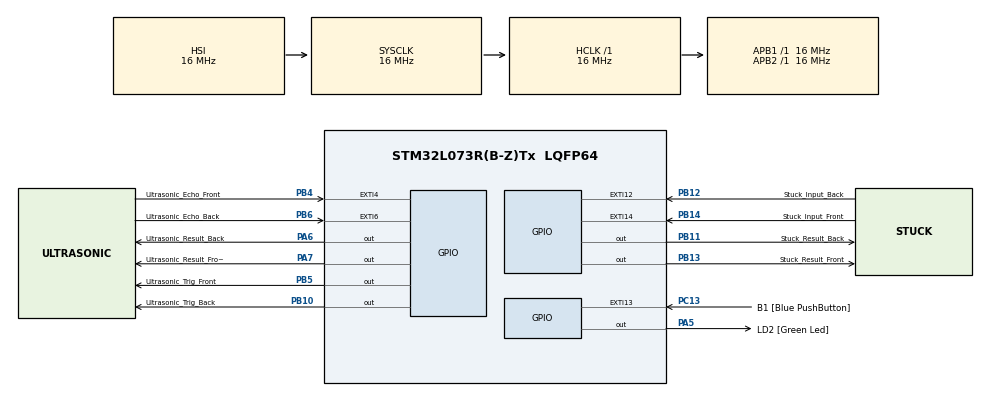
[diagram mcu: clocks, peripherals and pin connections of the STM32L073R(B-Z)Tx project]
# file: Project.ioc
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Mcu.Family=STM32L0
Mcu.Name=STM32L073R(B-Z)Tx
Mcu.Package=LQFP64
NVIC.EXTI4_15_IRQn=true\:0\:0\:false\:false\:true\:true\:true\:true
NVIC.TIM3_IRQn=true\:0\:0\:false\:false\:true\:true\:true\:true
NVIC.TIM6_DAC_IRQn=true\:0\:0\:false\:false\:true\:true\:true\:true
PA13.GPIO_Label=TMS
PA13.Mode=Serial_Wire
PA13.Signal=SYS_SWDIO
PA14.GPIO_Label=TCK
PA14.Mode=Serial_Wire
PA14.Signal=SYS_SWCLK
PA2.GPIO_Label=USART_TX
PA2.Signal=USART2_TX
PA3.GPIO_Label=USART_RX
PA3.Signal=USART2_RX
PA5.GPIO_Label=LD2 [Green Led]
PA5.Signal=GPIO_Output
PA6.GPIO_Label=Ultrasonic_Result_Back
PA6.Signal=GPIO_Output
PA7.GPIO_Label=Ultrasonic_Result_Front
PA7.Signal=GPIO_Output
PB10.GPIO_Label=Ultrasonic_Trig_Back
PB10.Signal=GPIO_Output
PB11.GPIO_Label=Stuck_Result_Back
PB11.Signal=GPIO_Output
PB12.GPIO_Label=Stuck_Input_Back
PB12.GPIO_ModeDefaultEXTI=GPIO_MODE_IT_RISING_FALLING
PB12.GPIO_PuPd=GPIO_PULLDOWN
PB12.Signal=GPXTI12
PB13.GPIO_Label=Stuck_Result_Front
PB13.Signal=GPIO_Output
PB14.GPIO_Label=Stuck_Input_Front
PB14.GPIO_ModeDefaultEXTI=GPIO_MODE_IT_RISING_FALLING
PB14.GPIO_PuPd=GPIO_PULLDOWN
PB14.Signal=GPXTI14
PB4.GPIO_Label=Ultrasonic_Echo_Front
PB4.GPIO_ModeDefaultEXTI=GPIO_MODE_IT_RISING_FALLING
PB4.Signal=GPXTI4
PB5.GPIO_Label=Ultrasonic_Trig_Front
PB5.Signal=GPIO_Output
PB6.GPIO_Label=Ultrasonic_Echo_Back
PB6.GPIO_ModeDefaultEXTI=GPIO_MODE_IT_RISING_FALLING
PB6.Signal=GPXTI6
PC13.GPIO_Label=B1 [Blue PushButton]
PC13.GPIO_ModeDefaultEXTI=GPIO_MODE_IT_RISING_FALLING
PC13.GPIO_PuPd=GPIO_NOPULL
PC13.Signal=GPXTI13
PC14-OSC32_IN.Mode=LSE-External-Oscillator
PC14-OSC32_IN.Signal=RCC_OSC32_IN
PC15-OSC32_OUT.Mode=LSE-External-Oscillator
PC15-OSC32_OUT.Signal=RCC_OSC32_OUT
PH0-OSC_IN.GPIO_Label=MCO
PH0-OSC_IN.Mode=HSE-External-Clock-Source
PH0-OSC_IN.Signal=RCC_OSC_IN
ProjectManager.HeapSize=0x200
ProjectManager.StackSize=0x400
ProjectManager.TargetToolchain=MDK-ARM V5.32
RCC.AHBFreq_Value=16000000
RCC.APB1Freq_Value=16000000
RCC.APB1TimFreq_Value=16000000
RCC.APB2Freq_Value=16000000
RCC.APB2TimFreq_Value=16000000
RCC.HCLKFreq_Value=16000000
RCC.HSE_VALUE=8000000
RCC.HSI16_VALUE=16000000
RCC.HSI48_VALUE=48000000
RCC.HSI_VALUE=16000000
RCC.MSI_VALUE=2097000
RCC.RTCClockSelection=RCC_RTCCLKSOURCE_LSE
RCC.RTCClockSelectionVirtual=RCC_RTCCLKSOURCE_LSE
RCC.SYSCLKFreq_VALUE=16000000
RCC.SYSCLKSource=RCC_SYSCLKSOURCE_HSI
RCC.VCOOutputFreq_Value=48000000
TIM3.Period=29999
TIM3.Prescaler=159
TIM6.Period=29999
TIM6.Prescaler=159
TIM7.Prescaler=15
VP_TIM3_VS_ClockSourceINT.Mode=Internal
VP_TIM6_VS_ClockSourceINT.Mode=Enable_Timer
VP_TIM7_VS_ClockSourceINT.Mode=Enable_Timer
board=NUCLEO-L073RZ

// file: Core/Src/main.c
/* USER CODE BEGIN Header */
/**
  ******************************************************************************
  * @file           : main.c
  * @brief          : Main program body
  ******************************************************************************
  * @attention
  *
  * Copyright (c) 2025 STMicroelectronics.
  * All rights reserved.
  *
  * This software is licensed under terms that can be found in the LICENSE file
  * in the root directory of this software component.
  * If no LICENSE file comes with this software, it is provided AS-IS.
  *
  ******************************************************************************
  */
/* USER CODE END Header */
#include "main.h"

/* USER CODE BEGIN Includes */
#include <stdio.h>
#include "../../Drivers/BSW/Ultrasonic.h"
#include "../../Drivers/BSW/Stuck.h"
/* USER CODE END Includes */

TIM_HandleTypeDef htim3;
TIM_HandleTypeDef htim6;
TIM_HandleTypeDef htim7;

/* USER CODE BEGIN PV */
volatile uint8_t flag_done[2];
volatile double dist[2];
/* USER CODE END PV */

void SystemClock_Config(void);
static void MX_GPIO_Init(void);
static void MX_TIM7_Init(void);
static void MX_TIM6_Init(void);
static void MX_TIM3_Init(void);

/* USER CODE BEGIN 0 */
// EXTI call-back
void HAL_GPIO_EXTI_Callback(uint16_t GPIO_Pin)
{
	// us precision time
	static volatile int sf = 0, sb = 0, ef, eb;

	switch(GPIO_Pin)
	{
		/* Ultrasonic echo received */
		case Echo_Front_Pin:
			ef = htim7.Instance->CNT;
			if(HAL_GPIO_ReadPin(Echo_GPIO_Port, Echo_Front_Pin) == GPIO_PIN_SET)	// Start measurement (rising edge)
			{
				sf = ef;
			}
			else																																	// End measurement (falling edge)
			{
				dist[Front] = (((ef < sf) * 65536) + (ef - sf)) * 0.017;						// Calculate distance
				flag_done[Front] = 1;
			}
			break;
		case Echo_Back_Pin:
			eb = htim7.Instance->CNT;
			if(HAL_GPIO_ReadPin(Echo_GPIO_Port, Echo_Back_Pin) == GPIO_PIN_SET)		// Start measurement (rising edge)
			{
				sb = eb;
			}
			else																																	// End measurement (falling edge)
			{
				dist[Back] = (((eb < sb) * 65536) + (eb - sb)) * 0.017;							// Calculate distance
				flag_done[Back] = 1;
			}
			break;

		/* Stuck signal received */
		case Stuck_Input_Front_Pin:
			if(HAL_GPIO_ReadPin(Stuck_GPIO_Port, Stuck_Input_Front_Pin) == GPIO_PIN_SET)
			{
				HAL_TIM_Base_Start_IT(&htim3);		// Timer start
			}
			else
			{
				// Reset timer & flag
				HAL_TIM_Base_Stop_IT(&htim3);
				__HAL_TIM_SET_COUNTER(&htim3, 0);
				HAL_GPIO_WritePin(Stuck_GPIO_Port, Stuck_Result_Front_Pin, GPIO_PIN_RESET);
			}
			break;
		case Stuck_Input_Back_Pin:
			if(HAL_GPIO_ReadPin(Stuck_GPIO_Port, Stuck_Input_Back_Pin) == GPIO_PIN_SET)
			{
				HAL_TIM_Base_Start_IT(&htim6);		// Timer start
			}
			else
			{
				// Reset timer & flag
				HAL_TIM_Base_Stop_IT(&htim6);
				__HAL_TIM_SET_COUNTER(&htim6, 0);
				HAL_GPIO_WritePin(Stuck_GPIO_Port, Stuck_Result_Back_Pin, GPIO_PIN_RESET);
			}
			break;

		/* Unknown pin */
		default:
			break;
	}
}
/* USER CODE END 0 */

int main(void)
{

  /* MCU Configuration--------------------------------------------------------*/

  /* Reset of all peripherals, Initializes the Flash interface and the Systick. */
  HAL_Init();

  /* Configure the system clock */
  SystemClock_Config();

  /* Initialize all configured peripherals */
  MX_GPIO_Init();
  MX_TIM7_Init();
  MX_TIM6_Init();
  MX_TIM3_Init();
  /* USER CODE BEGIN 2 */
	HAL_TIM_Base_Start(&htim7);

  /* USER CODE END 2 */

  /* Infinite loop */
  while (1)
  {

    /* USER CODE BEGIN 3 */
		UltraSonic();									// Run ultrasonic
		HAL_Delay(70);								// Delay for system stabilization
  }
  /* USER CODE END 3 */
}

void SystemClock_Config(void)
{
  RCC_OscInitTypeDef RCC_OscInitStruct = {0};
  RCC_ClkInitTypeDef RCC_ClkInitStruct = {0};

  /** Configure the main internal regulator output voltage
  */
  __HAL_PWR_VOLTAGESCALING_CONFIG(PWR_REGULATOR_VOLTAGE_SCALE1);

  /** Initializes the RCC Oscillators according to the specified parameters
  * in the RCC_OscInitTypeDef structure.
  */
  RCC_OscInitStruct.OscillatorType = RCC_OSCILLATORTYPE_HSI;
  RCC_OscInitStruct.HSIState = RCC_HSI_ON;
  RCC_OscInitStruct.HSICalibrationValue = RCC_HSICALIBRATION_DEFAULT;
  RCC_OscInitStruct.PLL.PLLState = RCC_PLL_NONE;
  if (HAL_RCC_OscConfig(&RCC_OscInitStruct) != HAL_OK)
  {
    Error_Handler();
  }

  /** Initializes the CPU, AHB and APB buses clocks
  */
  RCC_ClkInitStruct.ClockType = RCC_CLOCKTYPE_HCLK|RCC_CLOCKTYPE_SYSCLK
                              |RCC_CLOCKTYPE_PCLK1|RCC_CLOCKTYPE_PCLK2;
  RCC_ClkInitStruct.SYSCLKSource = RCC_SYSCLKSOURCE_HSI;
  RCC_ClkInitStruct.AHBCLKDivider = RCC_SYSCLK_DIV1;
  RCC_ClkInitStruct.APB1CLKDivider = RCC_HCLK_DIV1;
  RCC_ClkInitStruct.APB2CLKDivider = RCC_HCLK_DIV1;

  if (HAL_RCC_ClockConfig(&RCC_ClkInitStruct, FLASH_LATENCY_0) != HAL_OK)
  {
    Error_Handler();
  }
}

static void MX_TIM3_Init(void)
{

  TIM_ClockConfigTypeDef sClockSourceConfig = {0};
  TIM_MasterConfigTypeDef sMasterConfig = {0};

  htim3.Instance = TIM3;
  htim3.Init.Prescaler = 159;
  htim3.Init.CounterMode = TIM_COUNTERMODE_UP;
  htim3.Init.Period = 29999;
  htim3.Init.ClockDivision = TIM_CLOCKDIVISION_DIV1;
  htim3.Init.AutoReloadPreload = TIM_AUTORELOAD_PRELOAD_DISABLE;
  if (HAL_TIM_Base_Init(&htim3) != HAL_OK)
  {
    Error_Handler();
  }
  sClockSourceConfig.ClockSource = TIM_CLOCKSOURCE_INTERNAL;
  if (HAL_TIM_ConfigClockSource(&htim3, &sClockSourceConfig) != HAL_OK)
  {
    Error_Handler();
  }
  sMasterConfig.MasterOutputTrigger = TIM_TRGO_RESET;
  sMasterConfig.MasterSlaveMode = TIM_MASTERSLAVEMODE_DISABLE;
  if (HAL_TIMEx_MasterConfigSynchronization(&htim3, &sMasterConfig) != HAL_OK)
  {
    Error_Handler();
  }
  /* USER CODE BEGIN TIM3_Init 2 */
	__HAL_TIM_SET_COUNTER(&htim3, 0);
  /* USER CODE END TIM3_Init 2 */

}

static void MX_TIM6_Init(void)
{

  TIM_MasterConfigTypeDef sMasterConfig = {0};

  htim6.Instance = TIM6;
  htim6.Init.Prescaler = 159;
  htim6.Init.CounterMode = TIM_COUNTERMODE_UP;
  htim6.Init.Period = 29999;
  htim6.Init.AutoReloadPreload = TIM_AUTORELOAD_PRELOAD_DISABLE;
  if (HAL_TIM_Base_Init(&htim6) != HAL_OK)
  {
    Error_Handler();
  }
  sMasterConfig.MasterOutputTrigger = TIM_TRGO_RESET;
  sMasterConfig.MasterSlaveMode = TIM_MASTERSLAVEMODE_DISABLE;
  if (HAL_TIMEx_MasterConfigSynchronization(&htim6, &sMasterConfig) != HAL_OK)
  {
    Error_Handler();
  }
  /* USER CODE BEGIN TIM6_Init 2 */
	__HAL_TIM_SET_COUNTER(&htim6, 0);
  /* USER CODE END TIM6_Init 2 */

}

static void MX_TIM7_Init(void)
{

  TIM_MasterConfigTypeDef sMasterConfig = {0};

  htim7.Instance = TIM7;
  htim7.Init.Prescaler = 15;
  htim7.Init.CounterMode = TIM_COUNTERMODE_UP;
  htim7.Init.Period = 65535;
  htim7.Init.AutoReloadPreload = TIM_AUTORELOAD_PRELOAD_DISABLE;
  if (HAL_TIM_Base_Init(&htim7) != HAL_OK)
  {
    Error_Handler();
  }
  sMasterConfig.MasterOutputTrigger = TIM_TRGO_RESET;
  sMasterConfig.MasterSlaveMode = TIM_MASTERSLAVEMODE_DISABLE;
  if (HAL_TIMEx_MasterConfigSynchronization(&htim7, &sMasterConfig) != HAL_OK)
  {
    Error_Handler();
  }

}

static void MX_GPIO_Init(void)
{
  GPIO_InitTypeDef GPIO_InitStruct = {0};

  /* GPIO Ports Clock Enable */
  __HAL_RCC_GPIOC_CLK_ENABLE();
  __HAL_RCC_GPIOH_CLK_ENABLE();
  __HAL_RCC_GPIOA_CLK_ENABLE();
  __HAL_RCC_GPIOB_CLK_ENABLE();

  /*Configure GPIO pin Output Level */
  HAL_GPIO_WritePin(GPIOA, LD2_Pin|Ultrasonic_Result_Back_Pin|Ultrasonic_Result_Front_Pin, GPIO_PIN_RESET);

  /*Configure GPIO pin Output Level */
  HAL_GPIO_WritePin(GPIOB, Ultrasonic_Trig_Back_Pin|Stuck_Result_Back_Pin|Stuck_Result_Front_Pin|Ultrasonic_Trig_Front_Pin, GPIO_PIN_RESET);

  /*Configure GPIO pin : B1_Pin */
  GPIO_InitStruct.Pin = B1_Pin;
  GPIO_InitStruct.Mode = GPIO_MODE_IT_RISING_FALLING;
  GPIO_InitStruct.Pull = GPIO_NOPULL;
  HAL_GPIO_Init(B1_GPIO_Port, &GPIO_InitStruct);

  /*Configure GPIO pins : USART_TX_Pin USART_RX_Pin */
  GPIO_InitStruct.Pin = USART_TX_Pin|USART_RX_Pin;
  GPIO_InitStruct.Mode = GPIO_MODE_AF_PP;
  GPIO_InitStruct.Pull = GPIO_NOPULL;
  GPIO_InitStruct.Speed = GPIO_SPEED_FREQ_VERY_HIGH;
  GPIO_InitStruct.Alternate = GPIO_AF4_USART2;
  HAL_GPIO_Init(GPIOA, &GPIO_InitStruct);

  /*Configure GPIO pins : LD2_Pin Ultrasonic_Result_Back_Pin Ultrasonic_Result_Front_Pin */
  GPIO_InitStruct.Pin = LD2_Pin|Ultrasonic_Result_Back_Pin|Ultrasonic_Result_Front_Pin;
  GPIO_InitStruct.Mode = GPIO_MODE_OUTPUT_PP;
  GPIO_InitStruct.Pull = GPIO_NOPULL;
  GPIO_InitStruct.Speed = GPIO_SPEED_FREQ_LOW;
  HAL_GPIO_Init(GPIOA, &GPIO_InitStruct);

  /*Configure GPIO pins : Ultrasonic_Trig_Back_Pin Stuck_Result_Back_Pin Stuck_Result_Front_Pin Ultrasonic_Trig_Front_Pin */
  GPIO_InitStruct.Pin = Ultrasonic_Trig_Back_Pin|Stuck_Result_Back_Pin|Stuck_Result_Front_Pin|Ultrasonic_Trig_Front_Pin;
  GPIO_InitStruct.Mode = GPIO_MODE_OUTPUT_PP;
  GPIO_InitStruct.Pull = GPIO_NOPULL;
  GPIO_InitStruct.Speed = GPIO_SPEED_FREQ_LOW;
  HAL_GPIO_Init(GPIOB, &GPIO_InitStruct);

  /*Configure GPIO pins : Stuck_Input_Back_Pin Stuck_Input_Front_Pin */
  GPIO_InitStruct.Pin = Stuck_Input_Back_Pin|Stuck_Input_Front_Pin;
  GPIO_InitStruct.Mode = GPIO_MODE_IT_RISING_FALLING;
  GPIO_InitStruct.Pull = GPIO_PULLDOWN;
  HAL_GPIO_Init(GPIOB, &GPIO_InitStruct);

  /*Configure GPIO pins : Ultrasonic_Echo_Front_Pin Ultrasonic_Echo_Back_Pin */
  GPIO_InitStruct.Pin = Ultrasonic_Echo_Front_Pin|Ultrasonic_Echo_Back_Pin;
  GPIO_InitStruct.Mode = GPIO_MODE_IT_RISING_FALLING;
  GPIO_InitStruct.Pull = GPIO_NOPULL;
  HAL_GPIO_Init(GPIOB, &GPIO_InitStruct);

  /* EXTI interrupt init*/
  HAL_NVIC_SetPriority(EXTI4_15_IRQn, 0, 0);
  HAL_NVIC_EnableIRQ(EXTI4_15_IRQn);

}

void Error_Handler(void)
{
  __disable_irq();
  while (1)
  {
  }
}
